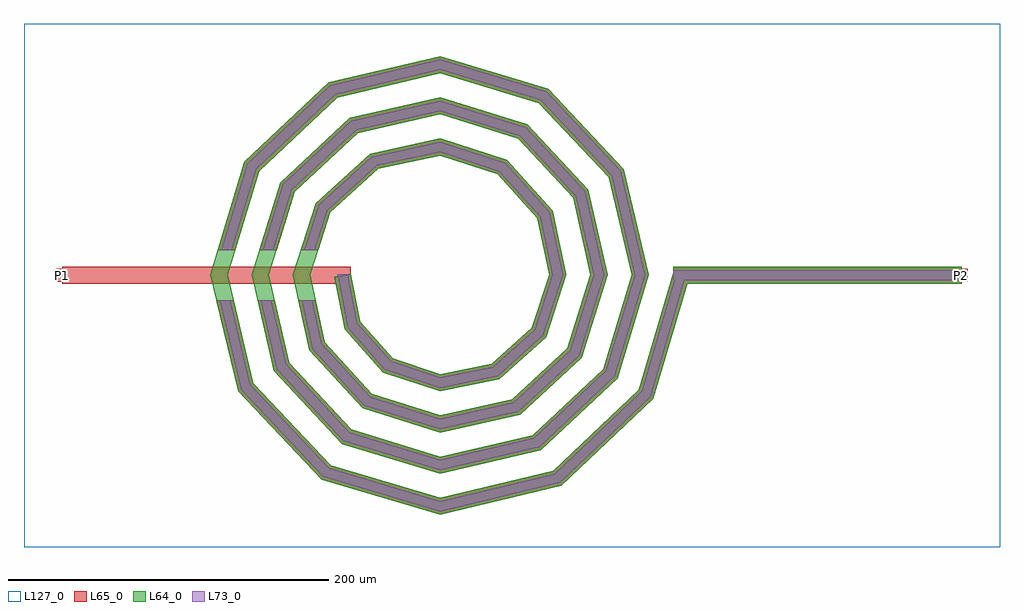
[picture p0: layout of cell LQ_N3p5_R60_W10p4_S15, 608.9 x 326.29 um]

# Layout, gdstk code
import gdstk
lib = gdstk.Library(unit=1e-6, precision=1e-09)
def R(c, l, rs):  # rectangles x0, y0, x1, y1
    for r in rs: c.add(gdstk.rectangle(r[:2], r[2:], *l))
def P(c, l, *ps):  # polygons
    for p in ps: c.add(gdstk.Polygon(p, *l))
L64_0 = (64, 0)
L65_0 = (65, 0)
L73_0 = (73, 0)
L127_0 = (127, 0)

lq_n3p5_r60_w10p4_s15 = lib.new_cell('LQ_N3p5_R60_W10p4_S15')
R(lq_n3p5_r60_w10p4_s15, L64_0, [(145.41,-5.2,325.41,5.2)])
P(lq_n3p5_r60_w10p4_s15, L64_0, [(-49.587,-29.024),(-29.512,-51.777),(0.32,-61.737),(32.207,-55.164),(57.324,-32.748),(68.158,0.292),(60.739,35.395),(35.981,62.873),(0.269,74.58),(-38.587,66.311),(-68.424,39.21),(-81.002,0.249),(-71.883,-41.782),(-42.437,-73.977),(0.232,-87.425),(44.979,-77.453),(79.531,-45.661),(93.847,0.217),(83.022,48.178),(48.885,85.086),(0.203,100.27),(-51.378,88.59),(-90.642,52.106),(-106.692,0.192),(-94.158,-54.58),(-55.327,-96.199),(0.181,-113.115),(57.782,-99.725),(101.756,-58.547),(119.538,0.172),(105.292,60.986),(61.766,107.314),(0.164,125.96),(-64.19,110.858),(-112.872,64.984),(-132.383,0.156),(-116.424,-67.395),(-68.201,-118.431),(0.149,-138.806),(70.601,-121.99),(123.99,-71.418),(145.625,1.48),(155.595,-1.48),(133.167,-77.051),(75.728,-131.458),(0.149,-149.569),(-73.845,-127.601),(-125.899,-72.51),(-143.146,0.156),(-122.035,70.64),(-69.292,120.34),(0.164,136.723),(67.435,116.468),(114.782,66.074),(130.3,0.172),(110.901,-64.231),(62.854,-109.224),(0.181,-123.876),(-61.028,-105.334),(-103.666,-59.634),(-117.453,0.192),(-99.765,57.825),(-56.413,98.109),(0.203,111.03),(54.624,94.197),(92.552,53.19),(104.607,0.217),(88.627,-51.424),(49.966,-86.997),(0.232,-98.183),(-48.226,-83.056),(-81.442,-46.74),(-91.759,0.249),(-77.484,45.03),(-43.512,75.888),(0.269,85.336),(41.836,71.91),(70.336,40.281),(78.912,0.292),(66.335,-38.646),(37.046,-64.786),(0.32,-72.487),(-35.459,-60.756),(-59.238,-33.806),(-65.788,-1.019),(-55.59,1.019)])
R(lq_n3p5_r60_w10p4_s15, L65_0, [(-235.489,-5.2,-55.489,5.2), (145.41,-5.2,325.41,5.2), (-239.489,-4,-231.489,4), (321.41,-4,329.41,4)])
P(lq_n3p5_r60_w10p4_s15, L65_0, [(-116.424,-67.395),(-68.201,-118.431),(0.149,-138.806),(70.601,-121.99),(123.99,-71.418),(145.625,1.48),(155.595,-1.48),(133.167,-77.051),(75.728,-131.458),(0.149,-149.569),(-73.845,-127.601),(-125.899,-72.51),(-139.406,-15.6),(-128.717,-15.6)],
  [(-94.158,-54.58),(-55.327,-96.199),(0.181,-113.115),(57.782,-99.725),(101.756,-58.547),(119.538,0.172),(105.292,60.986),(61.766,107.314),(0.164,125.96),(-64.19,110.858),(-112.872,64.984),(-127.664,15.6),(-138.52,15.6),(-122.035,70.64),(-69.292,120.34),(0.164,136.723),(67.435,116.468),(114.782,66.074),(130.3,0.172),(110.901,-64.231),(62.854,-109.224),(0.181,-123.876),(-61.028,-105.334),(-103.666,-59.634),(-113.814,-15.6),(-103.141,-15.6)],
  [(-71.883,-41.782),(-42.437,-73.977),(0.232,-87.425),(44.979,-77.453),(79.531,-45.661),(93.847,0.217),(83.022,48.178),(48.885,85.086),(0.204,100.27),(-51.378,88.59),(-90.642,52.106),(-101.846,15.6),(-112.724,15.6),(-99.765,57.825),(-56.413,98.109),(0.204,111.03),(54.624,94.197),(92.552,53.19),(104.607,0.217),(88.627,-51.424),(49.966,-86.997),(0.232,-98.183),(-48.226,-83.056),(-81.442,-46.74),(-88.279,-15.6),(-77.632,-15.6)],
  [(-29.512,-51.777),(0.32,-61.737),(32.207,-55.164),(57.324,-32.748),(68.158,0.292),(60.739,35.395),(35.981,62.873),(0.269,74.58),(-38.587,66.312),(-68.424,39.21),(-75.95,15.6),(-86.866,15.6),(-77.484,45.03),(-43.512,75.888),(0.269,85.336),(41.836,71.91),(70.336,40.281),(78.912,0.292),(66.335,-38.646),(37.046,-64.786),(0.32,-72.487),(-35.459,-60.756),(-59.238,-33.806),(-65.788,-1.019),(-55.59,1.019),(-49.588,-29.024)])
R(lq_n3p5_r60_w10p4_s15, L73_0, [(145.41,-3.2,325.41,3.2)])
P(lq_n3p5_r60_w10p4_s15, L73_0, [(-118.246,-68.379),(-69.287,-120.194),(0.092,-140.876),(71.587,-123.811),(125.755,-72.502),(147.543,0.911),(153.678,0.911),(131.402,-75.968),(74.742,-129.637),(0.092,-147.499),(-72.76,-125.837),(-124.077,-71.527),(-137.351,-15.6),(-130.773,-15.6)],
  [(-95.987,-55.552),(-56.423,-97.955),(0.112,-115.184),(58.758,-101.552),(103.515,-59.64),(121.607,0.106),(107.117,61.964),(62.856,109.074),(0.101,128.03),(-65.171,112.682),(-114.634,66.071),(-129.752,15.6),(-136.432,15.6),(-120.273,69.552),(-68.311,118.517),(0.101,134.653),(66.345,114.708),(112.957,65.095),(128.23,0.106),(109.142,-63.138),(61.879,-107.397),(0.112,-121.807),(-59.931,-103.577),(-101.837,-58.662),(-111.761,-15.6),(-105.194,-15.6)],
  [(-73.721,-42.735),(-43.55,-75.723),(0.143,-89.494),(45.938,-79.288),(81.28,-46.77),(95.916,0.133),(84.855,49.142),(49.988,86.838),(0.125,102.339),(-52.346,90.421),(-92.396,53.206),(-103.938,15.6),(-110.632,15.6),(-98.011,56.726),(-55.445,96.278),(0.125,108.961),(53.521,92.445),(90.72,52.226),(102.537,0.133),(86.878,-50.316),(49.007,-85.161),(0.143,-96.114),(-47.113,-81.31),(-79.604,-45.787),(-86.232,-15.6),(-79.679,-15.6)],
  [(-30.656,-53.504),(0.197,-63.804),(33.138,-57.015),(59.057,-33.882),(70.226,0.18),(62.584,36.335),(37.107,64.611),(0.165,76.649),(-39.534,68.153),(-70.166,40.329),(-78.049,15.6),(-84.767,15.6),(-75.742,43.911),(-42.565,74.047),(0.165,83.267),(40.71,70.172),(68.49,39.341),(76.844,0.18),(64.602,-37.512),(36.115,-62.935),(0.197,-70.42),(-34.316,-59.029),(-57.382,-32.887),(-63.827,0.627),(-57.551,0.627),(-51.443,-29.944)])
R(lq_n3p5_r60_w10p4_s15, L127_0, [(-259.489,-169.569,349.41,156.723)])
lq_n3p5_r60_w10p4_s15.add(gdstk.Label('P2', (325.41,0), layer=65, texttype=0))
lq_n3p5_r60_w10p4_s15.add(gdstk.Label('P1', (-235.489,0), layer=65, texttype=0))
lq_n3p5_r60_w10p4_s15.add(gdstk.Label('P2', (329.41,0), layer=145, texttype=0))
lq_n3p5_r60_w10p4_s15.add(gdstk.Label('P1', (-239.489,0), layer=145, texttype=0))

lib.write_gds('LQ_N3p5_R60_W10p4_S15.gds')
